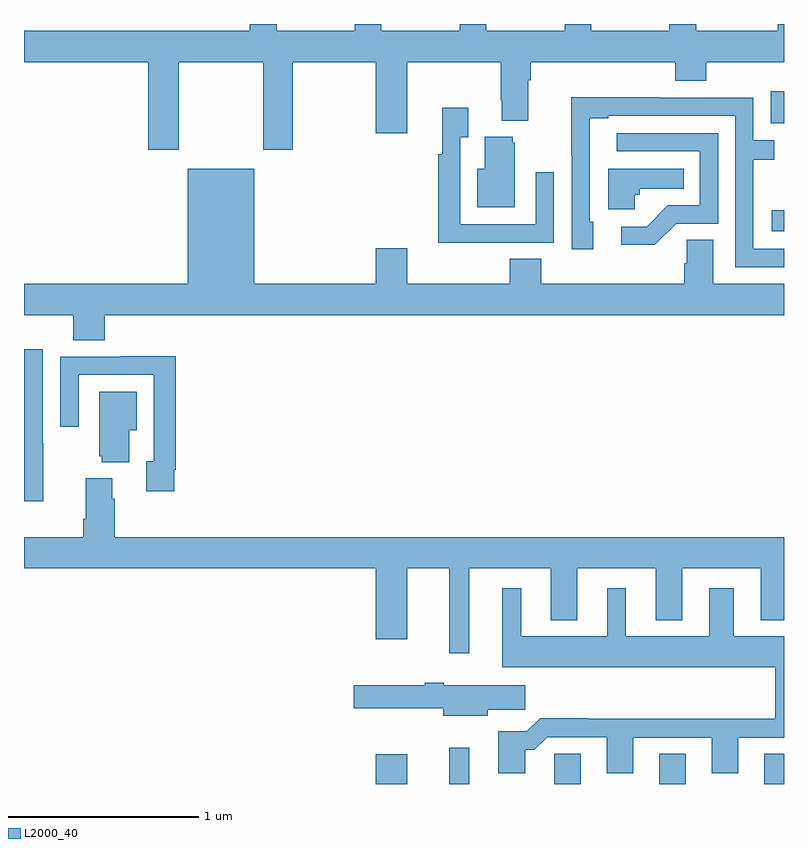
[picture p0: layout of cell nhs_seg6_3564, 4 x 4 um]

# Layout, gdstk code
import gdstk
lib = gdstk.Library(unit=1e-6, precision=1e-09)
def R(c, l, rs):  # rectangles x0, y0, x1, y1
    for r in rs: c.add(gdstk.rectangle(r[:2], r[2:], *l))
def P(c, l, *ps):  # polygons
    for p in ps: c.add(gdstk.Polygon(p, *l))
L2000_40 = (2000, 40)

nhs_seg6_3564 = lib.new_cell('nhs_seg6_3564')
R(nhs_seg6_3564, L2000_40, [(320.852,979.5,321.016,979.657), (321.239,979.5,321.343,979.69), (321.792,979.5,321.931,979.658), (322.343,979.5,322.483,979.658), (322.895,979.5,323,979.658), (322.935,982.409,323,982.519), (322.929,982.977,323,983.146)])
P(nhs_seg6_3564, L2000_40, [(320.26,982.839),(320.415,982.839),(320.415,983.3),(320.852,983.3),(320.852,982.926),(321.016,982.926),(321.016,983.3),(321.508,983.3),(321.508,983.098),(321.515,983.098),(321.515,982.991),(321.655,982.991),(321.655,983.204),(321.668,983.204),(321.668,983.3),(322.427,983.3),(322.427,983.201),(322.592,983.201),(322.592,983.3),(323,983.3),(323,983.5),(322.967,983.5),(322.967,983.464),(322.537,983.464),(322.537,983.5),(322.397,983.5),(322.397,983.464),(321.985,983.464),(321.985,983.5),(321.845,983.5),(321.845,983.464),(321.433,983.464),(321.433,983.5),(321.293,983.5),(321.293,983.464),(320.881,983.464),(320.881,983.5),(320.741,983.5),(320.741,983.464),(320.329,983.464),(320.329,983.5),(320.189,983.5),(320.189,983.464),(319,983.464),(319,983.3),(319.655,983.3),(319.655,982.839),(319.815,982.839),(319.815,983.3),(320.26,983.3)],
  [(323,982.317),(322.839,982.317),(322.839,982.786),(322.949,982.786),(322.949,982.887),(322.839,982.887),(322.839,983.112),(322.343,983.112),(322.343,983.114),(321.88,983.114),(321.88,982.807),(321.882,982.807),(321.882,982.314),(321.997,982.314),(321.997,982.458),(321.978,982.458),(321.978,983.004),(322.075,983.004),(322.075,983.016),(322.743,983.016),(322.743,982.221),(323,982.221)],
  [(321.473,982.35),(321.789,982.35),(321.789,982.72),(321.693,982.72),(321.693,982.446),(321.297,982.446),(321.297,982.903),(321.337,982.903),(321.337,983.059),(321.2,983.059),(321.2,982.814),(321.181,982.814),(321.181,982.349),(321.473,982.349)],
  [(322.434,982.449),(322.653,982.449),(322.653,982.926),(322.119,982.926),(322.119,982.83),(322.557,982.83),(322.557,982.545),(322.388,982.545),(322.277,982.434),(322.143,982.434),(322.143,982.337),(322.321,982.337)],
  [(321.583,982.875),(321.572,982.875),(321.572,982.906),(321.425,982.906),(321.425,982.738),(321.386,982.738),(321.386,982.535),(321.583,982.535)],
  [(319.424,981.968),(323,981.968),(323,982.132),(322.627,982.132),(322.627,982.364),(322.488,982.364),(322.488,982.241),(322.475,982.241),(322.475,982.132),(321.722,982.132),(321.722,982.265),(321.557,982.265),(321.557,982.132),(321.016,982.132),(321.016,982.321),(320.852,982.321),(320.852,982.132),(320.212,982.132),(320.212,982.738),(319.862,982.738),(319.862,982.132),(319,982.132),(319,981.968),(319.259,981.968),(319.259,981.835),(319.424,981.835)],
  [(322.215,982.602),(322.242,982.602),(322.242,982.634),(322.472,982.634),(322.472,982.738),(322.076,982.738),(322.076,982.526),(322.215,982.526)],
  [(319.101,981.293),(319.098,981.293),(319.098,981.787),(319,981.787),(319,981.642),(319.002,981.642),(319.002,981.084),(319,981.084),(319,980.987),(319.101,980.987)],
  [(319.792,981.154),(319.799,981.154),(319.799,981.752),(319.507,981.752),(319.507,981.75),(319.191,981.75),(319.191,981.381),(319.287,981.381),(319.287,981.654),(319.683,981.654),(319.683,981.198),(319.643,981.198),(319.643,981.042),(319.792,981.042)],
  [(319.555,981.362),(319.594,981.362),(319.594,981.565),(319.397,981.565),(319.397,981.225),(319.409,981.225),(319.409,981.194),(319.555,981.194)],
  [(321.343,980.636),(321.773,980.636),(321.773,980.363),(321.913,980.363),(321.913,980.636),(322.325,980.636),(322.325,980.363),(322.465,980.363),(322.465,980.636),(322.877,980.636),(322.877,980.363),(323,980.363),(323,980.8),(319.478,980.8),(319.478,981.002),(319.465,981.002),(319.465,981.109),(319.325,981.109),(319.325,980.896),(319.313,980.896),(319.313,980.8),(319,980.8),(319,980.636),(320.852,980.636),(320.852,980.262),(321.016,980.262),(321.016,980.636),(321.239,980.636),(321.239,980.187),(321.343,980.187)],
  [(321.637,979.679),(321.686,979.679),(321.753,979.746),(322.067,979.746),(322.067,979.557),(322.207,979.557),(322.207,979.743),(322.619,979.743),(322.619,979.557),(322.759,979.557),(322.759,979.743),(323,979.743),(323,980.278),(322.735,980.278),(322.735,980.53),(322.607,980.53),(322.607,980.278),(322.168,980.278),(322.168,980.53),(322.07,980.53),(322.07,980.278),(321.616,980.278),(321.616,980.53),(321.518,980.53),(321.518,980.114),(322.955,980.114),(322.955,979.844),(321.971,979.844),(321.971,979.847),(321.716,979.847),(321.646,979.777),(321.497,979.777),(321.497,979.557),(321.637,979.557)],
  [(321.442,979.891),(321.637,979.891),(321.637,980.02),(321.21,980.02),(321.21,980.033),(321.11,980.033),(321.11,980.02),(320.736,980.02),(320.736,979.898),(321.206,979.898),(321.206,979.859),(321.442,979.859)])

lib.write_gds('nhs_seg6_3564.gds')
